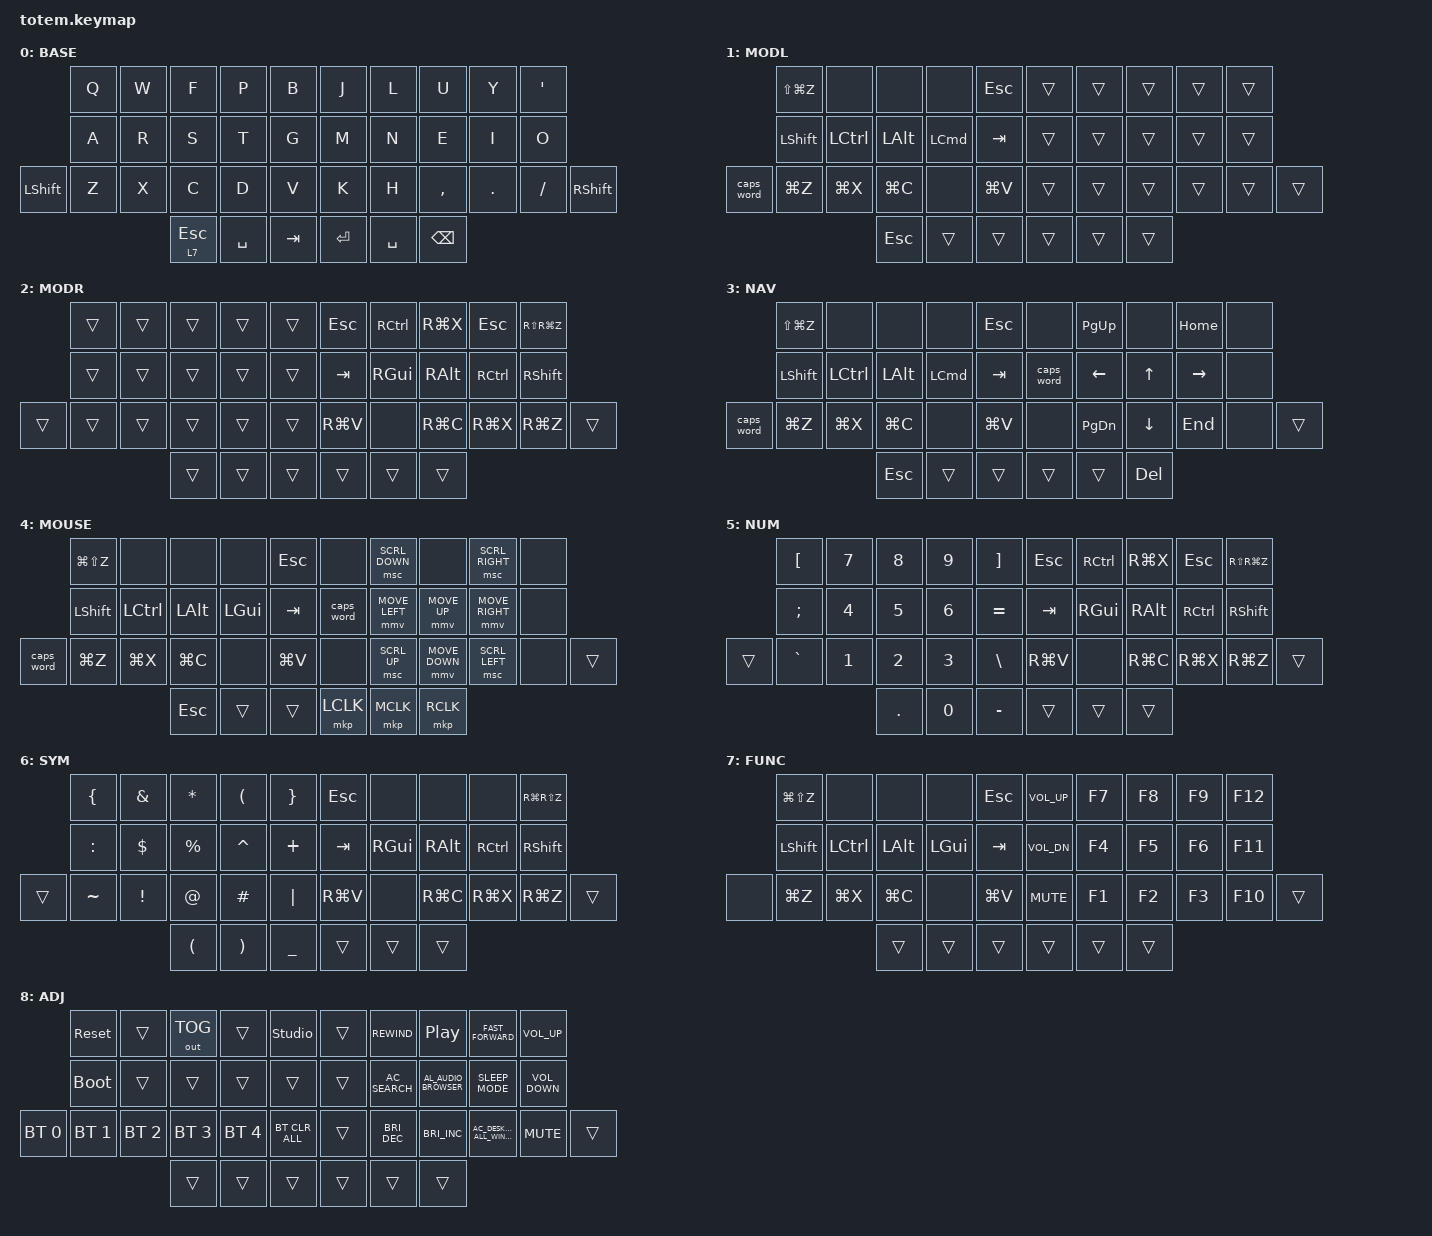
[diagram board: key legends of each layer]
//
//                                                        ▀▀▀▀▀     ▀▀▀▀▀          ▀▀█▀▀
//                                                        ▄▀▀▀▄  ▄  ▄▀▀▀▄  ▄  ▄▀▀▀▄  █  ▄▀▀▀▄
//                                                        █   █  █  █   █  █  █   █  █  █   █
//                                                         ▀▀▀   █   ▀▀▀   █   ▀▀▀   ▀   ▀▀▀
//                                                               █      ▄▄▄█▄▄▄    █   █  
//                                                               ▀      █  █  █     █▄█
//                                                             ▀▀▀▀▀    █  █  █      ▀
//                                                                      ▀  ▀  ▀
//
// ▄▄▄▄▄▄▄▄▄▄▄▄▄▄▄▄▄▄▄▄▄▄▄▄▄▄▄▄▄▄▄▄▄▄▄▄▄▄▄▄▄▄▄▄▄▄▄▄▄▄▄▄▄▄▄▄▄▄▄▄▄▄▄▄▄▄▄▄▄▄▄▄▄▄▄▄▄▄▄▄▄▄▄▄▄▄▄▄▄▄▄▄▄▄▄▄▄▄▄▄▄▄▄▄▄▄▄▄▄▄▄▄▄▄▄▄▄▄▄▄▄▄▄▄▄▄▄▄▄▄▄▄▄▄▄▄▄▄▄▄▄▄▄▄▄▄▄▄▄

#include <behaviors.dtsi>
#include <dt-bindings/zmk/bt.h>
#include <dt-bindings/zmk/keys.h>
#include <dt-bindings/zmk/outputs.h>
#include <dt-bindings/zmk/pointing.h>

#define BASE 0
#define NAV  1
#define SYM  2
#define ADJ  3

&mt {
    quick-tap-ms = <100>;
    global-quick-tap;
    flavor = "tap-preferred";
    tapping-term-ms = <200>;
};

/ {
    combos {
        compatible = "zmk,combos";

        Escape {
            bindings = <&kp ESCAPE>;
            key-positions = <13 16>;
            layers = <0>;
        };

        L_Command {
            bindings = <&kp LEFT_COMMAND>;
            key-positions = <12 13>;
            layers = <0>;
        };

        R_Command {
            bindings = <&kp RIGHT_COMMAND>;
            key-positions = <17 16>;
            layers = <0>;
        };

        L_CTRL {
            bindings = <&kp LEFT_CONTROL>;
            key-positions = <11 12>;
            layers = <0>;
        };

        R_CTRL {
            bindings = <&kp RIGHT_CONTROL>;
            key-positions = <17 18>;
            layers = <0>;
        };

        L_ALT {
            bindings = <&kp LEFT_ALT>;
            key-positions = <11 10>;
            layers = <0>;
        };

        R_ALT {
            bindings = <&kp RIGHT_ALT>;
            key-positions = <18 19>;
            layers = <0>;
        };

        nav_layer3 {
            bindings = <&mo 3>;
            key-positions = <33 13>;
            slow-release;
            timeout-ms = <120>;
            require-prior-idle-ms = <100>;
            layers = <0>;
        };

        nav_layer5 {
            bindings = <&mo 5>;
            key-positions = <36 16>;
            slow-release;
            timeout-ms = <120>;
            require-prior-idle-ms = <100>;
            layers = <0>;
        };

        nav_layer4 {
            bindings = <&mo 4>;
            key-positions = <33 12>;
            slow-release;
            timeout-ms = <120>;
            require-prior-idle-ms = <100>;
            layers = <0>;
        };

        nav_layer6 {
            bindings = <&mo 6>;
            key-positions = <17 36>;
            slow-release;
            timeout-ms = <120>;
            require-prior-idle-ms = <100>;
            layers = <0>;
        };

        nav_layer8 {
            bindings = <&mo 8>;
            key-positions = <32 37>;
        };

        nav_layer1 {
            bindings = <&mo 1>;
            key-positions = <14 33>;
            slow-release;
            timeout-ms = <120>;
            require-prior-idle-ms = <100>;
        };

        nav_layer2 {
            bindings = <&mo 2>;
            key-positions = <15 36>;
            slow-release;
            timeout-ms = <120>;
            require-prior-idle-ms = <100>;
        };
    };

    macros {
        gif: gif {
            label = "giphy";
            compatible = "zmk,behavior-macro";
            #binding-cells = <0>;
            bindings =
                <&macro_press>,
                <&kp LSHFT>,
                <&macro_tap>,
                <&kp N2>,
                <&macro_release>,
                <&kp LSHFT>,
                <&macro_tap>,
                <&kp G &kp I &kp F>;
        };
    };

    keymap {
        compatible = "zmk,keymap";

        // ▄▄▄▄▄▄▄▄▄▄▄▄▄▄▄▄▄▄▄▄▄▄▄▄▄▄▄▄▄▄▄▄▄▄▄▄▄▄▄▄▄▄▄▄▄▄▄▄▄▄▄▄▄▄▄▄▄▄▄▄▄▄▄▄▄▄▄▄▄▄▄▄▄▄▄▄▄▄▄▄▄▄▄▄▄▄▄▄▄▄▄▄▄▄▄▄▄▄▄▄▄▄▄▄▄▄▄▄▄▄▄▄▄▄▄▄▄▄▄▄▄▄▄▄▄▄▄▄▄▄▄▄▄▄▄▄▄▄▄▄▄▄▄▄▄▄▄▄▄

        base_layer {
            // ┏━━━━━━━━━━━━━━━━━━━━━━━━━━━━━━━━━━━━━━━┓

            label = "BASE";

            // ┗━━━━━━━━━━━━━━━━━━━━━━━━━━━━━━━━━━━━━━━┛
            //             ┏━━━━━━━━━━━┳━━━━━━━━━━━┳━━━━━━━━━━━┳━━━━━━━━━━━┳━━━━━━━━━━━┓   ┏━━━━━━━━━━━┳━━━━━━━━━━━┳━━━━━━━━━━━┳━━━━━━━━━━━┳━━━━━━━━━━━┓
            //             ┃     Q     ┃     W     ┃     F     ┃     P     ┃     G     ┃   ┃     J     ┃     L     ┃     U     ┃     Y     ┃     ;     ┃
            //             ┣━━━━━━━━━━━╋━━━━━━━━━━━╋━━━━━━━━━━━╋━━━━━━━━━━━╋━━━━━━━━━━━┫   ┣━━━━━━━━━━━╋━━━━━━━━━━━╋━━━━━━━━━━━╋━━━━━━━━━━━╋━━━━━━━━━━━┫
            //             ┃     A     ┃     R     ┃     S     ┃     T     ┃     D     ┃   ┃     H     ┃     N     ┃     E     ┃     I     ┃     O     ┃
            // ┏━━━━━━━━━━━╋━━━━━━━━━━━╋━━━━━━━━━━━╋━━━━━━━━━━━╋━━━━━━━━━━━╋━━━━━━━━━━━┫   ┣━━━━━━━━━━━╋━━━━━━━━━━━╋━━━━━━━━━━━╋━━━━━━━━━━━╋━━━━━━━━━━━╋━━━━━━━━━━━┓
            // ┃           ┃     Z     ┃     X     ┃     C     ┃     V     ┃     B     ┃   ┃     K     ┃     M     ┃     ,     ┃     .     ┃     /     ┃           ┃
            // ┗━━━━━━━━━━━┻━━━━━━━━━━━┻━━━━━━━━━━━╋━━━━━━━━━━━╋━━━━━━━━━━━╋━━━━━━━━━━━┫   ┣━━━━━━━━━━━╋━━━━━━━━━━━╋━━━━━━━━━━━╋━━━━━━━━━━━┻━━━━━━━━━━━┻━━━━━━━━━━━┛
            //                                     ┃           ┃    TAB    ┃    SPC    ┃   ┃   ENTER   ┃   BSPC    ┃           ┃
            //                                     ┗━━━━━━━━━━━┻━━━━━━━━━━━┻━━━━━━━━━━━┛   ┗━━━━━━━━━━━┻━━━━━━━━━━━┻━━━━━━━━━━━┛

            bindings = <
                &kp Q  &kp W  &kp F         &kp P      &kp B      &kp J      &kp L      &kp U          &kp Y    &kp SINGLE_QUOTE
                &kp A  &kp R  &kp S         &kp T      &kp G      &kp M      &kp N      &kp E          &kp I    &kp O
&kp LEFT_SHIFT  &kp Z  &kp X  &kp C         &kp D      &kp V      &kp K      &kp H      &kp COMMA      &kp DOT  &kp SLASH         &kp RIGHT_SHIFT
                              &lt 7 ESCAPE  &kp SPACE  &kp TAB    &kp ENTER  &kp SPACE  &kp BACKSPACE
            >;
        };

        left_modifiers {
            label = "MODL";
            bindings = <
            &kp LS(LG(Z))   &none             &none       &none             &kp ESC      &trans  &trans  &trans  &trans  &trans
            &kp LEFT_SHIFT  &kp LEFT_CONTROL  &kp LALT    &kp LEFT_COMMAND  &kp TAB      &trans  &trans  &trans  &trans  &trans
&caps_word  &kp LG(Z)       &kp LG(X)         &kp LG(C)   &none             &kp LG(V)    &trans  &trans  &trans  &trans  &trans  &trans
                                              &kp ESCAPE  &trans            &trans       &trans  &trans  &trans
            >;
        };

        right_modifiers {
            label = "MODR";
            bindings = <
        &trans  &trans  &trans  &trans  &trans    &kp ESCAPE  &kp RCTRL  &kp RG(X)  &kp ESC    &kp RS(RG(Z))
        &trans  &trans  &trans  &trans  &trans    &kp TAB     &kp RGUI   &kp RALT   &kp RCTRL  &kp RSHFT
&trans  &trans  &trans  &trans  &trans  &trans    &kp RG(V)   &none      &kp RG(C)  &kp RG(X)  &kp RG(Z)      &trans
                        &trans  &trans  &trans    &trans      &trans     &trans
            >;
        };

        NAV_LAYER {
            // ┏━━━━━━━━━━━━━━━━━━━━━━━━━━━━━━━━━━━━━━━┓

            label = "NAV";

            // ┗━━━━━━━━━━━━━━━━━━━━━━━━━━━━━━━━━━━━━━━┛
            //             ┏━━━━━━━━━━━┳━━━━━━━━━━━┳━━━━━━━━━━━┳━━━━━━━━━━━┳━━━━━━━━━━━┓   ┏━━━━━━━━━━━┳━━━━━━━━━━━┳━━━━━━━━━━━┳━━━━━━━━━━━┳━━━━━━━━━━━┓
            //             ┃           ┃           ┃     UP    ┃           ┃     {     ┃   ┃     }     ┃     7     ┃     8     ┃     9     ┃     +     ┃
            //             ┣━━━━━━━━━━━╋━━━━━━━━━━━╋━━━━━━━━━━━╋━━━━━━━━━━━╋━━━━━━━━━━━┫   ┣━━━━━━━━━━━╋━━━━━━━━━━━╋━━━━━━━━━━━╋━━━━━━━━━━━╋━━━━━━━━━━━┫
            //             ┃   SHIFT   ┃   LEFT    ┃    DOWN   ┃   RIGHT   ┃     [     ┃   ┃     ]     ┃     4     ┃     5     ┃     6     ┃     -     ┃
            // ┏━━━━━━━━━━━╋━━━━━━━━━━━╋━━━━━━━━━━━╋━━━━━━━━━━━╋━━━━━━━━━━━╋━━━━━━━━━━━┫   ┣━━━━━━━━━━━╋━━━━━━━━━━━╋━━━━━━━━━━━╋━━━━━━━━━━━╋━━━━━━━━━━━╋━━━━━━━━━━━┓
            // ┃           ┃           ┃   P UP    ┃  C LOCK   ┃  P DOWN   ┃     (     ┃   ┃     )     ┃     1     ┃     2     ┃     3     ┃     *     ┃           ┃
            // ┗━━━━━━━━━━━┻━━━━━━━━━━━┻━━━━━━━━━━━╋━━━━━━━━━━━╋━━━━━━━━━━━╋━━━━━━━━━━━┫   ┣━━━━━━━━━━━╋━━━━━━━━━━━╋━━━━━━━━━━━╋━━━━━━━━━━━┻━━━━━━━━━━━┻━━━━━━━━━━━┛
            //                                     ┃           ┃    TAB    ┃    SPC    ┃   ┃    DEL    ┃     0     ┃           ┃
            //                                     ┗━━━━━━━━━━━┻━━━━━━━━━━━┻━━━━━━━━━━━┛   ┗━━━━━━━━━━━┻━━━━━━━━━━━┻━━━━━━━━━━━┛

            bindings = <
            &kp LS(LG(Z))   &none             &none       &none             &kp ESC      &none       &kp PG_UP      &none         &kp HOME   &none
            &kp LEFT_SHIFT  &kp LEFT_CONTROL  &kp LALT    &kp LEFT_COMMAND  &kp TAB      &caps_word  &kp LEFT       &kp UP_ARROW  &kp RIGHT  &none
&caps_word  &kp LG(Z)       &kp LG(X)         &kp LG(C)   &none             &kp LG(V)    &none       &kp PAGE_DOWN  &kp DOWN      &kp END    &none  &trans
                                              &kp ESCAPE  &trans            &trans       &trans      &trans         &kp DELETE
            >;
        };

        MOUSE_LAYER {
            label = "MOUSE";
            bindings = <
            &kp LG(LS(Z))  &none      &none       &none         &kp ESCAPE    &none       &msc SCRL_DOWN  &none           &msc SCRL_RIGHT  &none
            &kp LSHFT      &kp LCTRL  &kp LALT    &kp LEFT_GUI  &kp TAB       &caps_word  &mmv MOVE_LEFT  &mmv MOVE_UP    &mmv MOVE_RIGHT  &none
&caps_word  &kp LG(Z)      &kp LG(X)  &kp LG(C)   &none         &kp LG(V)     &none       &msc SCRL_UP    &mmv MOVE_DOWN  &msc SCRL_LEFT   &none  &trans
                                      &kp ESCAPE  &trans        &trans        &mkp LCLK   &mkp MCLK       &mkp RCLK
            >;
        };

        NUMBERS_LAYER {
            // ┏━━━━━━━━━━━━━━━━━━━━━━━━━━━━━━━━━━━━━━━┓

            label = "NUM";

            // ┗━━━━━━━━━━━━━━━━━━━━━━━━━━━━━━━━━━━━━━━┛
            //             ┏━━━━━━━━━━━┳━━━━━━━━━━━┳━━━━━━━━━━━┳━━━━━━━━━━━┳━━━━━━━━━━━┓   ┏━━━━━━━━━━━┳━━━━━━━━━━━┳━━━━━━━━━━━┳━━━━━━━━━━━┳━━━━━━━━━━━┓
            //             ┃     !     ┃     @     ┃     #     ┃     $     ┃     %     ┃   ┃     ˆ     ┃     &     ┃     Ü     ┃     '     ┃     "     ┃
            //             ┣━━━━━━━━━━━╋━━━━━━━━━━━╋━━━━━━━━━━━╋━━━━━━━━━━━╋━━━━━━━━━━━┫   ┣━━━━━━━━━━━╋━━━━━━━━━━━╋━━━━━━━━━━━╋━━━━━━━━━━━╋━━━━━━━━━━━┫
            //             ┃     Ä     ┃           ┃    SZ     ┃           ┃           ┃   ┃   MUTE    ┃   YEN     ┃   EURO    ┃  POUND    ┃     Ö     ┃
            // ┏━━━━━━━━━━━╋━━━━━━━━━━━╋━━━━━━━━━━━╋━━━━━━━━━━━╋━━━━━━━━━━━╋━━━━━━━━━━━┫   ┣━━━━━━━━━━━╋━━━━━━━━━━━╋━━━━━━━━━━━╋━━━━━━━━━━━╋━━━━━━━━━━━╋━━━━━━━━━━━┓
            // ┃           ┃  EMAIL1   ┃  EMAIL2   ┃           ┃           ┃           ┃   ┃   VOL-    ┃   VOL+    ┃   LAST    ┃   NEXT    ┃     \     ┃           ┃
            // ┗━━━━━━━━━━━┻━━━━━━━━━━━┻━━━━━━━━━━━╋━━━━━━━━━━━╋━━━━━━━━━━━╋━━━━━━━━━━━┫   ┣━━━━━━━━━━━╋━━━━━━━━━━━╋━━━━━━━━━━━╋━━━━━━━━━━━┻━━━━━━━━━━━┻━━━━━━━━━━━┛
            //                                     ┃           ┃    GIF    ┃    ADJ    ┃   ┃           ┃           ┃           ┃
            //                                     ┗━━━━━━━━━━━┻━━━━━━━━━━━┻━━━━━━━━━━━┛   ┗━━━━━━━━━━━┻━━━━━━━━━━━┻━━━━━━━━━━━┛

            bindings = <
        &kp LEFT_BRACKET  &kp NUMBER_7  &kp N8        &kp N9        &kp RIGHT_BRACKET    &kp ESCAPE  &kp RCTRL  &kp RG(X)  &kp ESC    &kp RS(RG(Z))
        &kp SEMICOLON     &kp NUMBER_4  &kp N5        &kp NUMBER_6  &kp EQUAL            &kp TAB     &kp RGUI   &kp RALT   &kp RCTRL  &kp RSHFT
&trans  &kp GRAVE         &kp NUMBER_1  &kp NUMBER_2  &kp NUMBER_3  &kp BACKSLASH        &kp RG(V)   &none      &kp RG(C)  &kp RG(X)  &kp RG(Z)      &trans
                                        &kp PERIOD    &kp N0        &kp MINUS            &trans      &trans     &trans
            >;
        };

        SYMBOLS_LAYER {
            label = "SYM";
            bindings = <
        &kp LEFT_BRACE  &kp AMPERSAND    &kp ASTERISK          &kp LEFT_PARENTHESIS   &kp RIGHT_BRACE    &kp ESCAPE  &none     &none      &none      &kp RG(RS(Z))
        &kp COLON       &kp DOLLAR       &kp PERCENT           &kp CARET              &kp PLUS           &kp TAB     &kp RGUI  &kp RALT   &kp RCTRL  &kp RIGHT_SHIFT
&trans  &kp TILDE       &kp EXCLAMATION  &kp AT_SIGN           &kp HASH               &kp PIPE           &kp RG(V)   &none     &kp RG(C)  &kp RG(X)  &kp RG(Z)        &trans
                                         &kp LEFT_PARENTHESIS  &kp RIGHT_PARENTHESIS  &kp UNDERSCORE     &trans      &trans    &trans
            >;
        };

        FUNC_LAYER {
            label = "FUNC";
            bindings = <
       &kp LG(LS(Z))  &none      &none      &none         &kp ESCAPE    &kp C_VOLUME_UP  &kp F7  &kp F8  &kp F9  &kp F12
       &kp LSHFT      &kp LCTRL  &kp LALT   &kp LEFT_GUI  &kp TAB       &kp C_VOL_DN     &kp F4  &kp F5  &kp F6  &kp F11
&none  &kp LG(Z)      &kp LG(X)  &kp LG(C)  &none         &kp LG(V)     &kp K_MUTE       &kp F1  &kp F2  &kp F3  &kp F10  &trans
                                 &trans     &trans        &trans        &trans           &trans  &trans
            >;
        };

        ADJUST_LAYER {
            // ┏━━━━━━━━━━━━━━━━━━━━━━━━━━━━━━━━━━━━━━━┓

            label = "ADJ";

            // ┗━━━━━━━━━━━━━━━━━━━━━━━━━━━━━━━━━━━━━━━┛
            //             ┏━━━━━━━━━━━┳━━━━━━━━━━━┳━━━━━━━━━━━┳━━━━━━━━━━━┳━━━━━━━━━━━┓   ┏━━━━━━━━━━━┳━━━━━━━━━━━┳━━━━━━━━━━━┳━━━━━━━━━━━┳━━━━━━━━━━━┓
            //             ┃   RESET   ┃ BT CLEAR  ┃  OUT TOG  ┃           ┃           ┃   ┃           ┃    F7     ┃    F8     ┃    F9     ┃    F12    ┃
            //             ┣━━━━━━━━━━━╋━━━━━━━━━━━╋━━━━━━━━━━━╋━━━━━━━━━━━╋━━━━━━━━━━━┫   ┣━━━━━━━━━━━╋━━━━━━━━━━━╋━━━━━━━━━━━╋━━━━━━━━━━━╋━━━━━━━━━━━┫
            //             ┃ BOOTLOAD  ┃ BT NEXT   ┃           ┃           ┃           ┃   ┃           ┃    F4     ┃    F5     ┃    F6     ┃    F11    ┃
            // ┏━━━━━━━━━━━╋━━━━━━━━━━━╋━━━━━━━━━━━╋━━━━━━━━━━━╋━━━━━━━━━━━╋━━━━━━━━━━━┫   ┣━━━━━━━━━━━╋━━━━━━━━━━━╋━━━━━━━━━━━╋━━━━━━━━━━━╋━━━━━━━━━━━╋━━━━━━━━━━━┓
            // ┃           ┃           ┃ BT PREV   ┃           ┃           ┃           ┃   ┃           ┃    F1     ┃    F2     ┃    F3     ┃    F10    ┃           ┃
            // ┗━━━━━━━━━━━┻━━━━━━━━━━━┻━━━━━━━━━━━╋━━━━━━━━━━━╋━━━━━━━━━━━╋━━━━━━━━━━━┫   ┣━━━━━━━━━━━╋━━━━━━━━━━━╋━━━━━━━━━━━╋━━━━━━━━━━━┻━━━━━━━━━━━┻━━━━━━━━━━━┛
            //                                     ┃           ┃           ┃           ┃   ┃           ┃           ┃           ┃
            //                                     ┗━━━━━━━━━━━┻━━━━━━━━━━━┻━━━━━━━━━━━┛   ┗━━━━━━━━━━━┻━━━━━━━━━━━┻━━━━━━━━━━━┛

            bindings = <
              &sys_reset    &trans        &out OUT_TOG  &trans        &studio_unlock    &trans  &kp C_REWIND          &kp C_PLAY_PAUSE        &kp C_FAST_FORWARD                 &kp C_VOLUME_UP
              &bootloader   &trans        &trans        &trans        &trans            &trans  &kp C_AC_SEARCH       &kp C_AL_AUDIO_BROWSER  &kp C_SLEEP_MODE                   &kp C_VOLUME_DOWN
&bt BT_SEL 0  &bt BT_SEL 1  &bt BT_SEL 2  &bt BT_SEL 3  &bt BT_SEL 4  &bt BT_CLR_ALL    &trans  &kp C_BRIGHTNESS_DEC  &kp C_BRIGHTNESS_INC    &kp C_AC_DESKTOP_SHOW_ALL_WINDOWS  &kp K_MUTE         &trans
                                          &trans        &trans        &trans            &trans  &trans                &trans
            >;
        };
    };
};
